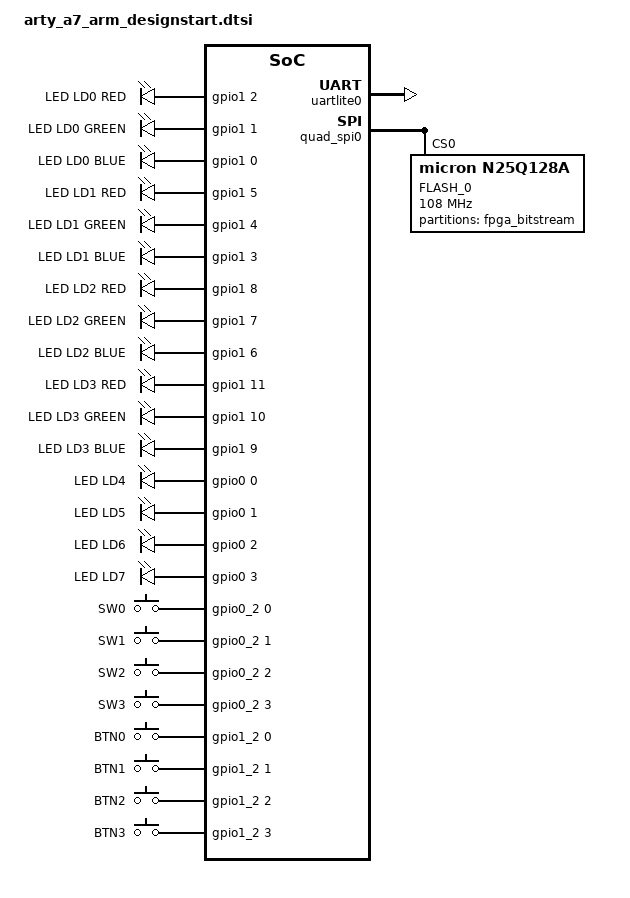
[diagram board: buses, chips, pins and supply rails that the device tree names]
/*
 * Copyright (c) 2020 Henrik Brix Andersen <henrik@brixandersen.dk>
 *
 * SPDX-License-Identifier: Apache-2.0
 */

#include <zephyr/dt-bindings/gpio/gpio.h>
#include <mem.h>

/ {
	chosen {
		zephyr,console = &uartlite0;
		zephyr,shell-uart = &uartlite0;
		zephyr,flash = &itcm;
		/* Use DTCM as SRAM by default */
		zephyr,sram = &dtcm;
	};

	aliases {
		led0 = &led_ld4;
		led1 = &led_ld5;
		led2 = &led_ld6;
		led3 = &led_ld7;
		sw0 = &sw0;
		sw1 = &sw1;
		sw2 = &sw2;
		sw3 = &sw3;
	};

	leds {
		compatible = "gpio-leds";
		led_ld0_red: led_ld0_red {
			gpios = <&gpio1 2 GPIO_ACTIVE_HIGH>;
			label = "LED LD0 RED";
		};
		led_ld0_green: led_ld0_green {
			gpios = <&gpio1 1 GPIO_ACTIVE_HIGH>;
			label = "LED LD0 GREEN";
		};
		led_ld0_blue: led_ld0_blue {
			gpios = <&gpio1 0 GPIO_ACTIVE_HIGH>;
			label = "LED LD0 BLUE";
		};

		led_ld1_red: led_ld1_red {
			gpios = <&gpio1 5 GPIO_ACTIVE_HIGH>;
			label = "LED LD1 RED";
		};
		led_ld1_green: led_ld1_green {
			gpios = <&gpio1 4 GPIO_ACTIVE_HIGH>;
			label = "LED LD1 GREEN";
		};
		led_ld1_blue: led_ld1_blue {
			gpios = <&gpio1 3 GPIO_ACTIVE_HIGH>;
			label = "LED LD1 BLUE";
		};

		led_ld2_red: led_ld2_red {
			gpios = <&gpio1 8 GPIO_ACTIVE_HIGH>;
			label = "LED LD2 RED";
		};
		led_ld2_green: led_ld2_green {
			gpios = <&gpio1 7 GPIO_ACTIVE_HIGH>;
			label = "LED LD2 GREEN";
		};
		led_ld2_blue: led_ld2_blue {
			gpios = <&gpio1 6 GPIO_ACTIVE_HIGH>;
			label = "LED LD2 BLUE";
		};

		led_ld3_red: led_ld3_red {
			gpios = <&gpio1 11 GPIO_ACTIVE_HIGH>;
			label = "LED LD3 RED";
		};
		led_ld3_green: led_ld3_green {
			gpios = <&gpio1 10 GPIO_ACTIVE_HIGH>;
			label = "LED LD3 GREEN";
		};
		led_ld3_blue: led_ld3_blue {
			gpios = <&gpio1 9 GPIO_ACTIVE_HIGH>;
			label = "LED LD3 BLUE";
		};

		led_ld4: led_ld4 {
			gpios = <&gpio0 0 GPIO_ACTIVE_HIGH>;
			label = "LED LD4";
		};
		led_ld5: led_ld5 {
			gpios = <&gpio0 1 GPIO_ACTIVE_HIGH>;
			label = "LED LD5";
		};
		led_ld6: led_ld6 {
			gpios = <&gpio0 2 GPIO_ACTIVE_HIGH>;
			label = "LED LD6";
		};
		led_ld7: led_ld7 {
			gpios = <&gpio0 3 GPIO_ACTIVE_HIGH>;
			label = "LED LD7";
		};
	};

	gpio_keys {
		compatible = "gpio-keys";
		sw0: sw0 {
			gpios = <&gpio0_2 0 GPIO_ACTIVE_HIGH>;
			label = "SW0";
		};
		sw1: sw1 {
			gpios = <&gpio0_2 1 GPIO_ACTIVE_HIGH>;
			label = "SW1";
		};
		sw2: sw2 {
			gpios = <&gpio0_2 2 GPIO_ACTIVE_HIGH>;
			label = "SW2";
		};
		sw3: sw3 {
			gpios = <&gpio0_2 3 GPIO_ACTIVE_HIGH>;
			label = "SW3";
		};
		btn0: btn0 {
			gpios = <&gpio1_2 0 GPIO_ACTIVE_HIGH>;
			label = "BTN0";
		};
		btn1: btn1 {
			gpios = <&gpio1_2 1 GPIO_ACTIVE_HIGH>;
			label = "BTN1";
		};
		btn2: btn2 {
			gpios = <&gpio1_2 2 GPIO_ACTIVE_HIGH>;
			label = "BTN2";
		};
		btn3: btn3 {
			gpios = <&gpio1_2 3 GPIO_ACTIVE_HIGH>;
			label = "BTN3";
		};
	};

	daplink_qspi_mux: daplink_qspi_mux {
		compatible = "arm,daplink-qspi-mux";
		status = "disabled";
		interrupt-parent = <&nvic>;
		interrupts = <7 0>;
		mux-gpios = <&daplink_gpio0 0 GPIO_ACTIVE_HIGH>;
	};

	soc {
		daplink_gpio0: gpio@40010000 {
			compatible = "xlnx,xps-gpio-1.00.a";
			status = "disabled";
			reg = <0x40010000 0x10000>;
			label = "DAPLINK_GPIO_0";
			gpio-controller;
			#gpio-cells = <2>;

			xlnx,all-inputs = <0x0>;
			xlnx,all-outputs = <0x0>;
			xlnx,dout-default = <0x0>;
			xlnx,gpio-width = <0x20>;
			xlnx,is-dual = <0x0>;
			xlnx,tri-default = <0xffffffff>;
		};

		daplink_quad_spi0: spi@40020000 {
			compatible = "xlnx,xps-spi-2.00.a";
			status = "disabled";
			reg = <0x40020000 0x10000>;
			interrupts = <4 0>;
			#address-cells = <1>;
			#size-cells = <0>;
			label = "DAPLINK_QUAD_SPI_0";

			xlnx,num-ss-bits = <0x1>;
			xlnx,num-transfer-bits = <0x8>;
		};

		daplink_single_spi0: spi@40030000 {
			compatible = "xlnx,xps-spi-2.00.a";
			status = "disabled";
			reg = <0x40030000 0x10000>;
			interrupts = <5 0>;
			label = "DAPLINK_SINGLE_SPI_0";
			#address-cells = <1>;
			#size-cells = <0>;

			xlnx,num-ss-bits = <0x1>;
			xlnx,num-transfer-bits = <0x8>;
		};

		uartlite0: uartlite@40100000 {
			compatible = "xlnx,xps-uartlite-1.00.a";
			interrupts = <0 0>;
			reg = <0x40100000 0x10000>;
			label = "UART_0";
		};

		gpio0: gpio@40110000 {
			compatible = "xlnx,xps-gpio-1.00.a";
			interrupts = <1 0>;
			reg = <0x40110000 0x10000>;
			label = "GPIO_0";
			gpio-controller;
			#gpio-cells = <2>;

			xlnx,all-inputs = <0x0>;
			xlnx,all-inputs-2 = <0x1>;
			xlnx,all-outputs = <0x0>;
			xlnx,all-outputs-2 = <0x0>;
			xlnx,dout-default = <0x0>;
			xlnx,dout-default-2 = <0x0>;
			xlnx,gpio-width = <0x4>;
			xlnx,gpio2-width = <0x4>;
			xlnx,is-dual = <0x1>;
			xlnx,tri-default = <0xffffffff>;
			xlnx,tri-default-2 = <0xffffffff>;

			gpio0_2: gpio2 {
				compatible = "xlnx,xps-gpio-1.00.a-gpio2";
				label = "GPIO_0_2";
				gpio-controller;
				#gpio-cells = <2>;
			};
		};

		gpio1: gpio@40120000 {
			compatible = "xlnx,xps-gpio-1.00.a";
			interrupts = <2 0>;
			reg = <0x40120000 0x10000>;
			label = "GPIO_1";
			gpio-controller;
			#gpio-cells = <2>;

			xlnx,all-inputs = <0x0>;
			xlnx,all-inputs-2 = <0x1>;
			xlnx,all-outputs = <0x0>;
			xlnx,all-outputs-2 = <0x0>;
			xlnx,dout-default = <0x0>;
			xlnx,dout-default-2 = <0x0>;
			xlnx,gpio-width = <0xc>;
			xlnx,gpio2-width = <0x4>;
			xlnx,is-dual = <0x1>;
			xlnx,tri-default = <0xffffffff>;
			xlnx,tri-default-2 = <0xffffffff>;

			gpio1_2: gpio2 {
				compatible = "xlnx,xps-gpio-1.00.a-gpio2";
				label = "GPIO_1_2";
				gpio-controller;
				#gpio-cells = <2>;
			};
		};

		quad_spi0: spi@40130000 {
			compatible = "xlnx,xps-spi-2.00.a";
			reg = <0x40130000 0x10000>;
			interrupts = <3 0>;
			#address-cells = <1>;
			#size-cells = <0>;
			label = "QUAD_SPI_0";

			xlnx,num-ss-bits = <0x1>;
			xlnx,num-transfer-bits = <0x8>;

			flash0: flash@0 {
				compatible = "micron,n25q128a","jedec,spi-nor";
				reg = <0>;
				spi-max-frequency = <108000000>;
				size = <DT_SIZE_M(128)>;
				jedec-id = [20 ba 18];
				label = "FLASH_0";

				partitions {
					compatible = "fixed-partitions";
					#address-cells = <1>;
					#size-cells = <1>;

					fpga_bitstream_partition: partition@0 {
						label = "fpga_bitstream";
						/* From Xilinx 7 Series FPGA User Guide (UG470)
						 * Table 1-1: Bitstream Length
						 *           Bits    Bytes (sector multiple)
						 * A35T:  17,536,096     0x218000
						 * A100T: 30,606,304     0x3a8000
						 */
						reg = <0x00000000 0x218000>;
					};
				};
			};
		};
	};
};
